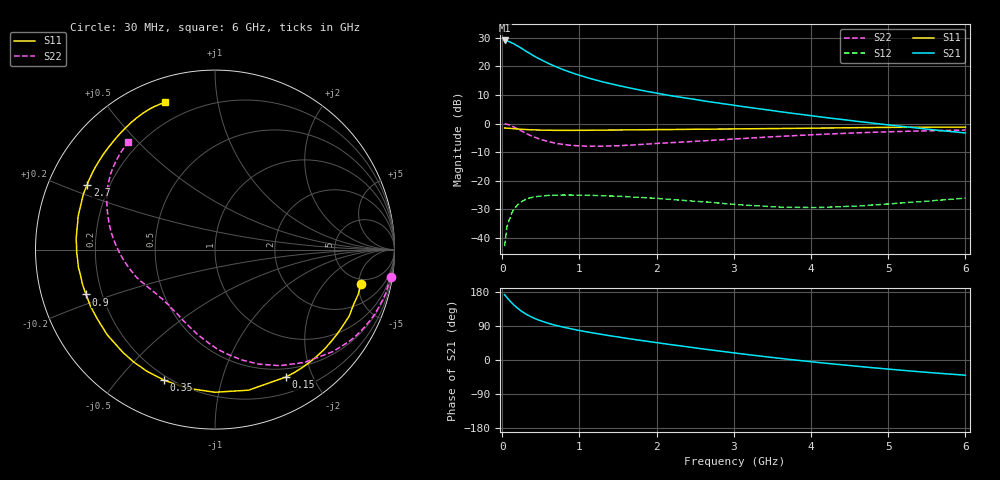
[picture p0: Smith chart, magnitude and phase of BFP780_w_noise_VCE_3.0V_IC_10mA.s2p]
! Infineon Technologies  Discrete & RF Semiconductors
! BFP780
! VCE =  3.0 V,  IC =  10 mA
! Common Emitter S-Parameters:  Jul 2015
# GHz  S  MA  R  50
!  f  S11  S21  S12  S22
! GHz  MAG  ANG  MAG  ANG  MAG  ANG  MAG  ANG
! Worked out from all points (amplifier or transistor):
!   75 points, 30 MHz to 6 GHz, reference 50 ohm
!   highest |S21| = 29.1 dB at 30 MHz (marker M1)
!   |S21| within 3 dB of that: start of sweep to 263.3 MHz
!   unconditionally stable (mu >= 1): 2.637 GHz to end of sweep
!   at 150 MHz: K = 0.04, MSG = 28.9 dB, |S12| = -30.0 dB
!   at 2.3 GHz: K = 0.84, MSG = 18.0 dB, |S12| = -26.8 dB
!   at 6 GHz: K = 1.55, MAG = 7.0 dB, |S12| = -26.1 dB
!   lowest NFmin = 0.78 dB at 450 MHz
!   S11 on the Smith chart (normalised r, x): 30 MHz: 4.23, -5.40; 150 MHz: 0.39, -1.64; 350 MHz: 0.18, -0.67; 900 MHz: 0.14, -0.17; 2.7 GHz: 0.12, +0.24; 6 GHz: 0.11, +0.71
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0.03  0.8369 -13.2  28.35 172.4  0.0072 84.5  0.9911 -8.8
0.05  0.8304 -22.0  28.22 167.1  0.0118 73.1  0.9814 -14.7
0.08  0.8276 -34.5  27.43 160.0  0.0188 72.3  0.9567 -22.9
0.11  0.8215 -46.2  26.27 153.3  0.0247 65.1  0.9224 -31.0
0.15  0.8126 -60.8  24.74 145.2  0.0316 57.7  0.8697 -40.7
0.2  0.8052 -76.6  22.62 136.4  0.0382 48.7  0.8023 -51.6
0.25  0.7948 -90.1  20.6 128.5  0.0431 42.1  0.7407 -60.8
0.3  0.7877 -101.4  18.67 122.0  0.0471 36.1  0.6825 -69.2
0.35  0.7809 -111.2  17 116.3  0.0498 31.1  0.6323 -76.4
0.4  0.7768 -119.1  15.47 111.4  0.0517 27.2  0.5914 -82.4
0.45  0.7729 -125.9  14.2 107.1  0.0531 23.5  0.5574 -88.2
0.6  0.7655 -141.7  11.21 96.6  0.0555 15.5  0.4824 -101.7
0.7  0.761 -149.4  9.795 91.0  0.056 11.4  0.4502 -108.9
0.9  0.7606 -160.8  7.735 81.9  0.0563 5.3  0.4148 -120.5
1.1  0.7628 -169.2  6.346 74.1  0.0557 0.5  0.402 -129.8
1.6  0.7758 175.8  4.332 57.5  0.053 -7.8  0.4172 -146.3
2.1  0.7859 164.6  3.211 42.9  0.0479 -13.1  0.4565 -158.6
2.7  0.7981 153.1  2.387 26.6  0.0421 -15.3  0.5076 -172.4
3.1  0.8088 146.0  1.995 16.3  0.0379 -13.4  0.5472 178.7
4.1  0.8333 130.3  1.32 -6.7  0.0342 -0.8  0.6451 158.9
5.1  0.8599 117.7  0.915 -25.8  0.0403 10.1  0.7239 142.5
6  0.8667 108.7  0.685 -40.2  0.0497 11.7  0.7697 129.0
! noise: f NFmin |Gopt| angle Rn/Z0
0.45  0.78  0.21  99  0.08
0.9  0.87  0.24  126  0.11
1.5  1.06  0.36  157  0.06
1.8  1.29  0.44  173  0.06
2.4  1.55  0.52  -176  0.07
3  1.98  0.57  -157  0.12
3.5  2.67  0.62  -142  0.24
